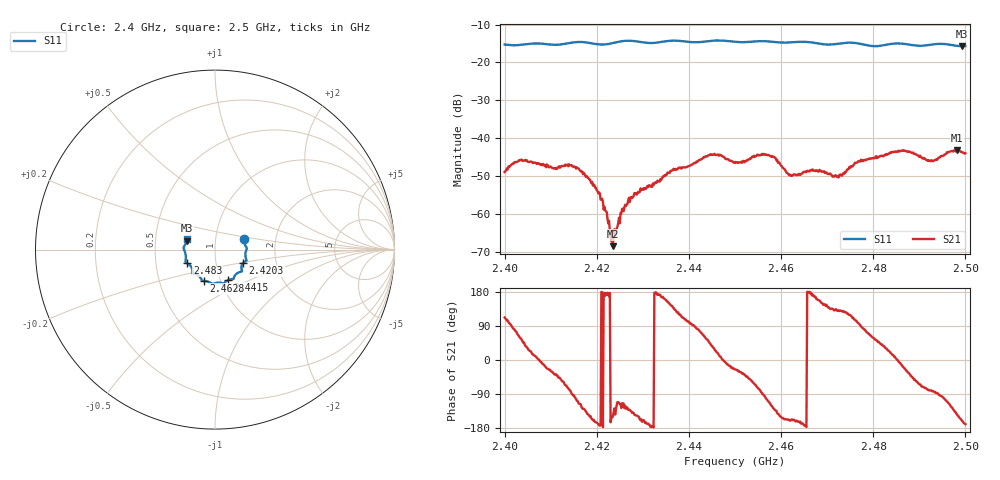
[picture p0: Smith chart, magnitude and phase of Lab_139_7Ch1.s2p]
# Hz S RI R 50
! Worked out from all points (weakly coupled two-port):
!   601 points, 2.4 GHz to 2.5 GHz, reference 50 ohm
!   highest |S21| = -43.14 dB at 2.4982 GHz (marker M1); lowest = -68.5 dB at 2.4235 GHz (marker M2)
!   lowest |S11| = -15.7 dB at 2.4993 GHz (marker M3), VSWR 1.39, Z = 36.4 + j3.67 ohm
!   |S11| at or under -10 dB: start of sweep to end of sweep
!   S12 and S22 are empty: the file has one direction only
!   S11 on the Smith chart (normalised r, x): 2.4 GHz: 1.38, +0.16; 2.4203 GHz: 1.35, -0.21; 2.4415 GHz: 1.09, -0.38; 2.4628 GHz: 0.83, -0.30; 2.483 GHz: 0.73, -0.11; 2.5 GHz: 0.73, +0.09
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2.4e9  0.1624 0.0565  -0.00135 0.00332  0 0  0 0
2.403667e9  0.1697 0.0213  0.00305 0.00425  0 0  0 0
2.416667e9  0.1751 -0.0619  -0.00196 -0.00301  0 0  0 0
2.420333e9  0.1563 -0.0748  -0.00184 -0.000342  0 0  0 0
2.4235e9  0.1475 -0.1031  -0.000322 -0.000194  0 0  0 0
2.427333e9  0.1496 -0.1217  -0.00115 -0.00117  0 0  0 0
2.433333e9  0.1086 -0.1478  -0.00271 0.000317  0 0  0 0
2.4415e9  0.0734 -0.169  0.000394 0.00472  0 0  0 0
2.445167e9  0.0513 -0.1864  0.00497 0.00342  0 0  0 0
2.45e9  0.0295 -0.1846  0.00428 -0.00196  0 0  0 0
2.456667e9  -0.0164 -0.1895  -0.00113 -0.00596  0 0  0 0
2.462833e9  -0.0624 -0.1742  -0.0031 -0.00125  0 0  0 0
2.466667e9  -0.0754 -0.1671  -0.00371 0.000595  0 0  0 0
2.472667e9  -0.1152 -0.1347  -0.00208 0.00255  0 0  0 0
2.4765e9  -0.1259 -0.1269  -0.000839 0.00471  0 0  0 0
2.483e9  -0.1538 -0.0765  0.00534 0.00283  0 0  0 0
2.483333e9  -0.156 -0.0755  0.00564 0.00256  0 0  0 0
2.486833e9  -0.164 -0.0618  0.00634 -0.00263  0 0  0 0
2.492667e9  -0.1718 -0.00186  0.000849 -0.00506  0 0  0 0
2.498167e9  -0.1616 0.0355  -0.00563 -0.0041  0 0  0 0
2.499333e9  -0.1559 0.0491  -0.00618 -0.0021  0 0  0 0
2.5e9  -0.1538 0.0578  -0.00624 -0.00117  0 0  0 0
